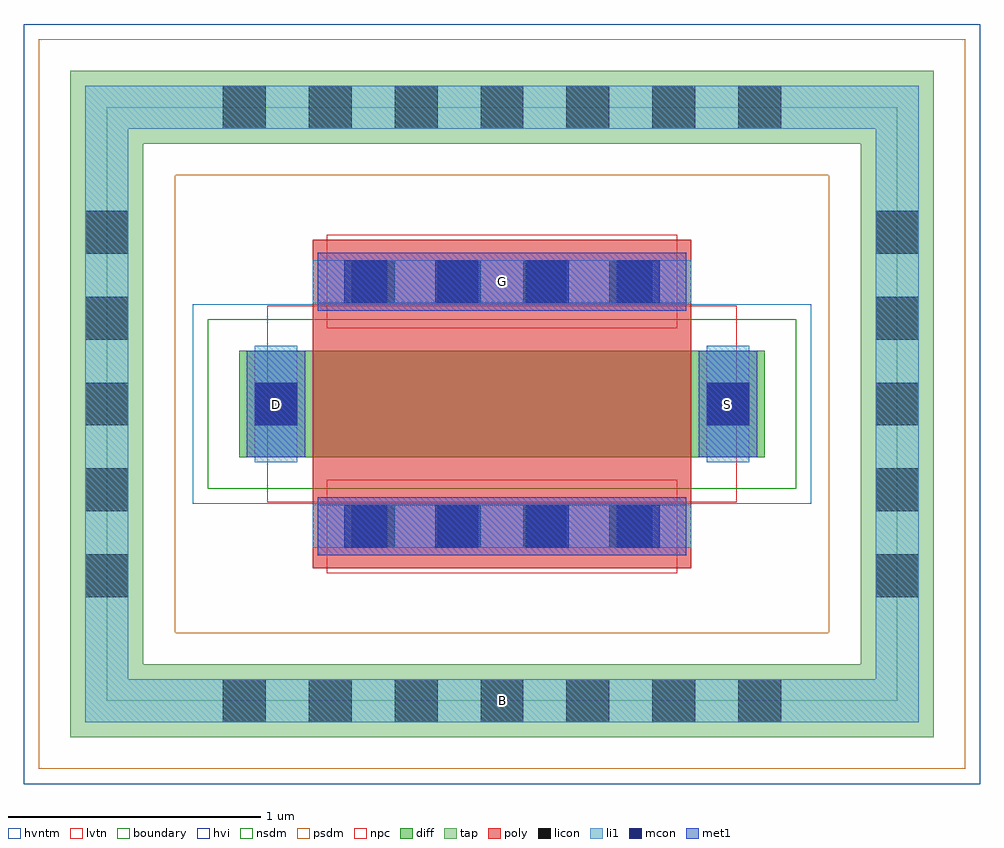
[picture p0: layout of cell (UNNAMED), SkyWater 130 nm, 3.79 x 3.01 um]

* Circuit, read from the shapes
.subckt (UNNAMED) B D G S
XM1 S G D B sky130_fd_pr__nfet_05v0_nvt w=0.42 l=1.5
.ends

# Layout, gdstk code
import gdstk
lib = gdstk.Library(unit=1e-6, precision=1e-09)
def R(c, l, rs):  # rectangles x0, y0, x1, y1
    for r in rs: c.add(gdstk.rectangle(r[:2], r[2:], *l))
def A(c, l, x, y, w, h, nx, ny, dx, dy):  # array of equal rectangles
    R(c, l, [(x+i*dx, y+j*dy, x+i*dx+w, y+j*dy+h) for i in range(nx) for j in range(ny)])
diff = (65, 20)
tap = (65, 44)
poly = (66, 20)
licon = (66, 44)
li1 = (67, 20)
mcon = (67, 44)
met1 = (68, 20)
hvi = (75, 20)
nsdm = (93, 44)
psdm = (94, 20)
npc = (95, 20)
hvntm = (125, 20)
lvtn = (125, 44)
boundary = (235, 4)

c__unnamed_ = lib.new_cell('(UNNAMED)')
R(c__unnamed_, diff, [(-1.04,-0.21,1.04,0.21)])
R(c__unnamed_, tap, [(-1.71,-1.32,1.71,-1.03), (-1.71,-1.03,-1.42,1.03), (1.42,-1.03,1.71,1.03), (-1.71,1.03,1.71,1.32)])
R(c__unnamed_, poly, [(-0.75,-0.65,0.75,0.65)])
A(c__unnamed_, licon, -1.105, -1.26, 0.17, 0.17, 7, 2, 0.34, 2.35)
A(c__unnamed_, licon, -1.65, -0.765, 0.17, 0.17, 1, 5, 0, 0.34)
A(c__unnamed_, licon, 1.48, -0.765, 0.17, 0.17, 1, 5, 0, 0.34)
A(c__unnamed_, licon, -0.595, -0.57, 0.17, 0.17, 4, 2, 0.34, 0.97)
R(c__unnamed_, licon, [(-0.98,-0.085,-0.81,0.085), (0.81,-0.085,0.98,0.085)])
R(c__unnamed_, li1, [(-1.65,-1.26,1.65,-1.09), (-1.65,-1.09,-1.48,1.09), (1.48,-1.09,1.65,1.09), (-0.75,-0.57,0.75,-0.4), (-0.98,-0.23,-0.81,0.23), (0.81,-0.23,0.98,0.23), (-0.75,0.4,0.75,0.57), (-1.65,1.09,1.65,1.26)])
A(c__unnamed_, mcon, -0.625, -0.57, 0.17, 0.17, 4, 2, 0.36, 0.97)
R(c__unnamed_, mcon, [(-0.98,-0.085,-0.81,0.085), (0.81,-0.085,0.98,0.085)])
R(c__unnamed_, met1, [(-0.73,-0.6,0.73,-0.37), (-1.01,-0.21,-0.78,0.21), (0.78,-0.21,1.01,0.21), (-0.73,0.37,0.73,0.6)])
R(c__unnamed_, hvi, [(-1.895,-1.505,1.895,1.505)])
R(c__unnamed_, nsdm, [(-1.165,-0.335,1.165,0.335)])
R(c__unnamed_, psdm, [(-1.835,-1.445,1.835,-0.905), (-1.835,-0.905,-1.295,0.905), (1.295,-0.905,1.835,0.905), (-1.835,0.905,1.835,1.445)])
R(c__unnamed_, npc, [(-0.695,-0.67,0.695,-0.3), (-0.695,0.3,0.695,0.67)])
R(c__unnamed_, hvntm, [(-1.225,-0.395,1.225,0.395)])
R(c__unnamed_, lvtn, [(-0.93,-0.39,0.93,0.39)])
R(c__unnamed_, boundary, [(-1.565,-1.175,1.565,1.175)])
c__unnamed_.add(gdstk.Label('B', (0,-1.175), layer=67, texttype=5))
c__unnamed_.add(gdstk.Label('D', (-0.895,0), layer=67, texttype=5))
c__unnamed_.add(gdstk.Label('S', (0.895,0), layer=67, texttype=5))
c__unnamed_.add(gdstk.Label('G', (0,0.485), layer=67, texttype=5))

lib.write_gds('_UNNAMED_.gds')
